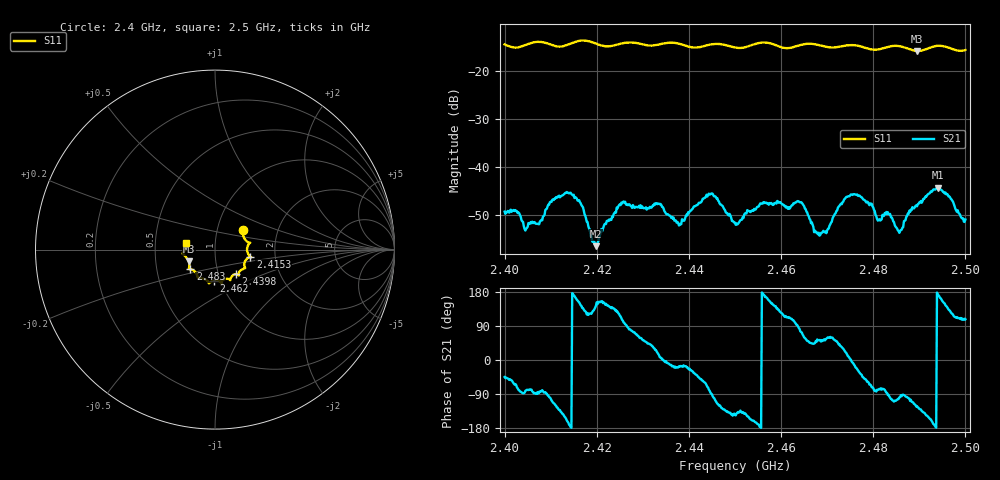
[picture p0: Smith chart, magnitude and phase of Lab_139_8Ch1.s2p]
# Hz S RI R 50
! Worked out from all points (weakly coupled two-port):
!   601 points, 2.4 GHz to 2.5 GHz, reference 50 ohm
!   highest |S21| = -44.30 dB at 2.494 GHz (marker M1); lowest = -56.5 dB at 2.4198 GHz (marker M2)
!   lowest |S11| = -15.9 dB at 2.4895 GHz (marker M3), VSWR 1.38, Z = 37 - j4.98 ohm
!   |S11| at or under -10 dB: start of sweep to end of sweep
!   S12 and S22 are empty: the file has one direction only
!   S11 on the Smith chart (normalised r, x): 2.4 GHz: 1.33, +0.29; 2.4153 GHz: 1.48, -0.12; 2.4398 GHz: 1.21, -0.34; 2.462 GHz: 0.93, -0.33; 2.483 GHz: 0.74, -0.17; 2.5 GHz: 0.72, +0.06
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2.4e9  0.155 0.1065  0.00242 -0.00242  0 0  0 0
2.404667e9  0.1816 0.0425  0.000397 -0.00224  0 0  0 0
2.415333e9  0.1964 -0.0385  -0.00466 0.00123  0 0  0 0
2.416667e9  0.202 -0.0424  -0.0032 0.00242  0 0  0 0
2.419833e9  0.1861 -0.045  -0.00121 0.000886  0 0  0 0
2.425333e9  0.1654 -0.0976  -0.00148 0.00398  0 0  0 0
2.433333e9  0.1311 -0.1335  0.004 0.00111  0 0  0 0
2.437833e9  0.1296 -0.1408  0.00236 -0.000703  0 0  0 0
2.439833e9  0.1153 -0.1365  0.00313 -0.00127  0 0  0 0
2.444833e9  0.0847 -0.168  8.59e-05 -0.00528  0 0  0 0
2.45e9  0.0645 -0.1624  -0.00217 -0.00149  0 0  0 0
2.462e9  -0.00518 -0.1732  -0.00129 0.00354  0 0  0 0
2.464333e9  -0.0291 -0.1839  0.00121 0.00413  0 0  0 0
2.466667e9  -0.0342 -0.1876  0.00192 0.00184  0 0  0 0
2.469833e9  -0.0463 -0.171  0.00114 0.0017  0 0  0 0
2.4755e9  -0.0933 -0.1597  0.00508 -0.000577  0 0  0 0
2.483e9  -0.1378 -0.1096  0.00018 -0.00322  0 0  0 0
2.483333e9  -0.1403 -0.1094  -0.000119 -0.00323  0 0  0 0
2.485833e9  -0.1458 -0.105  -0.000298 -0.00215  0 0  0 0
2.4895e9  -0.1463 -0.0656  -0.00206 -0.00331  0 0  0 0
2.494e9  -0.1805 -0.023  -0.00606 0.000705  0 0  0 0
2.5e9  -0.1597 0.0392  -0.00085 0.00271  0 0  0 0
